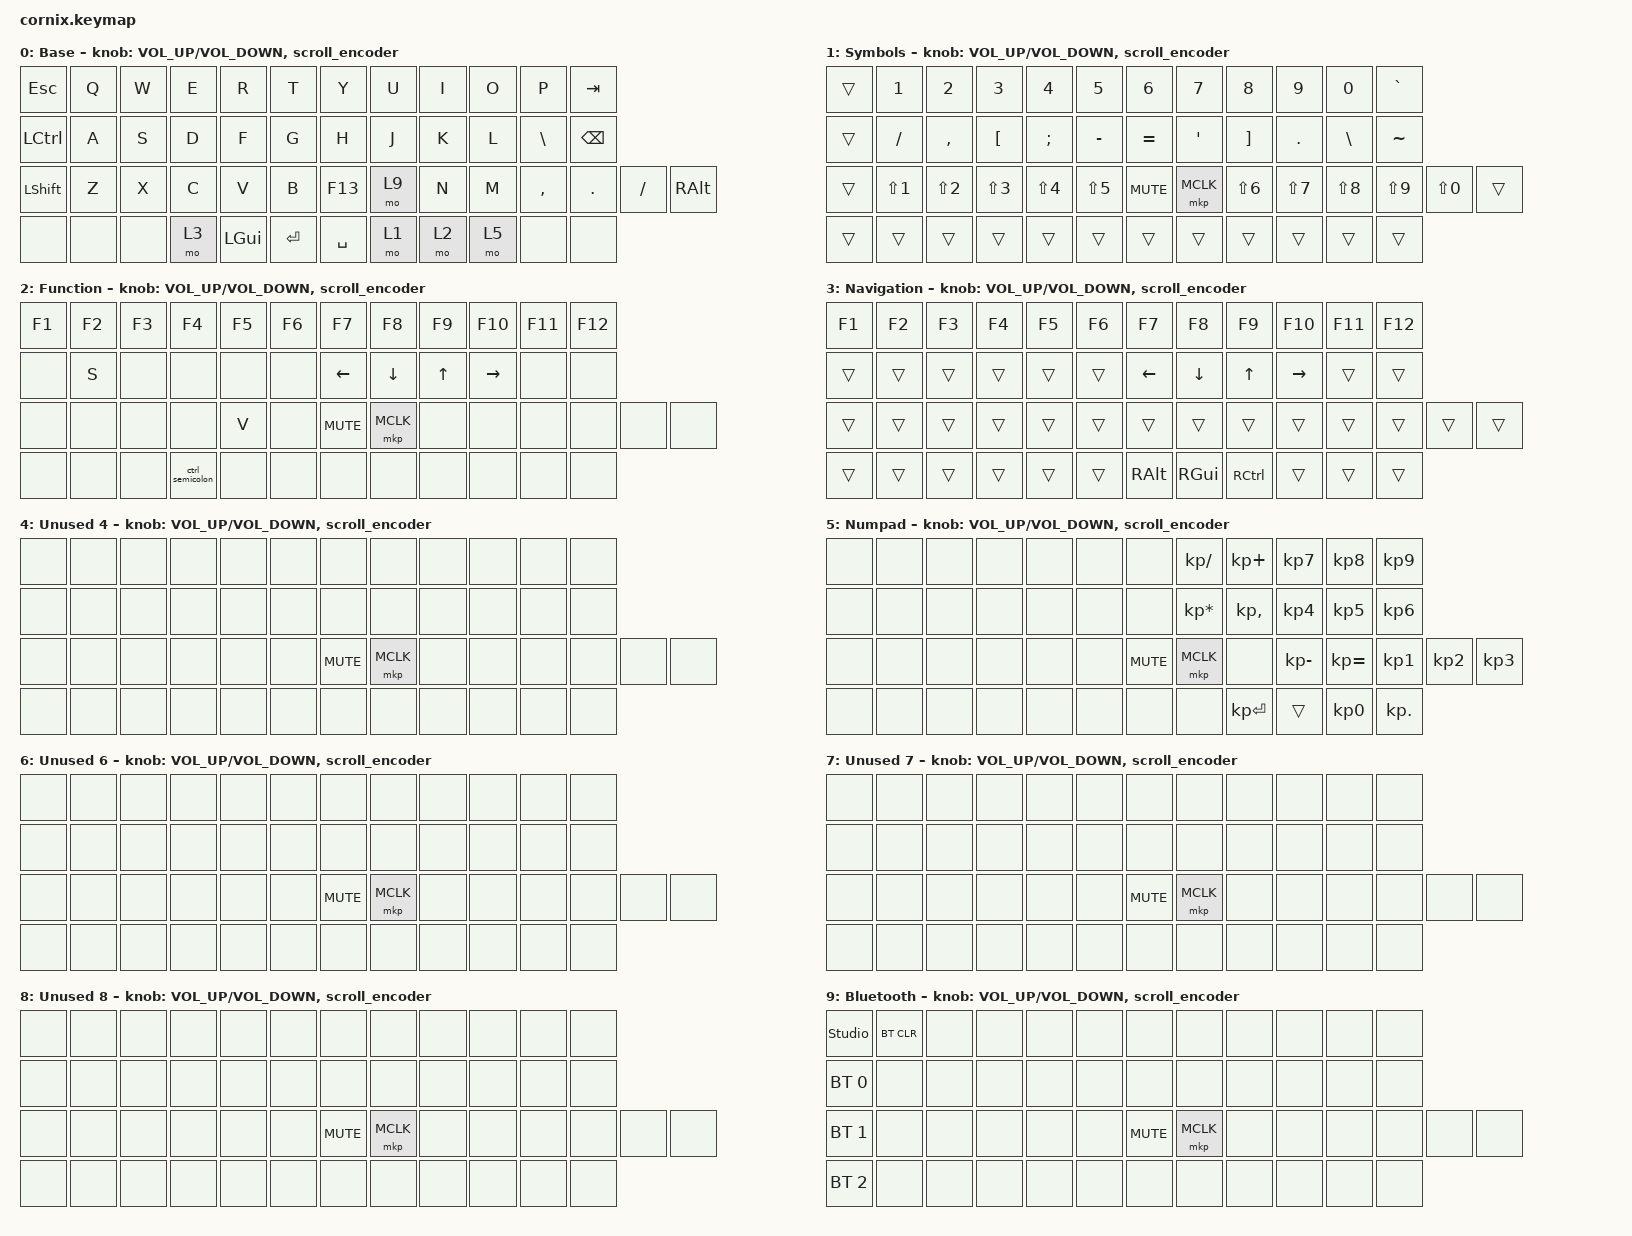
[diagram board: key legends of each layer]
/*
 * Copyright (c) 2024 The ZMK Contributors
 *
 * SPDX-License-Identifier: MIT
 */

#include <behaviors.dtsi>
#include <dt-bindings/zmk/bt.h>
#include <dt-bindings/zmk/keys.h>
#include <dt-bindings/zmk/pointing.h>

// ノブの短いタップでもスクロールが発生するよう、加速を無効にする。
&msc {
    time-to-max-speed-ms = <0>;
};

/ {
    behaviors {
        scroll_encoder: scroll_encoder {
            compatible = "zmk,behavior-sensor-rotate";
            #sensor-binding-cells = <0>;
            // 16msの更新周期を超え、1回転イベントで約1段スクロールする。
            tap-ms = <20>;
            bindings = <&msc MOVE_Y(-100)>, <&msc MOVE_Y(100)>;
        };
    };

    macros {
        ctrl_semicolon: ctrl_semicolon {
            compatible = "zmk,behavior-macro";
            #binding-cells = <0>;
            bindings = <&kp LC(SEMI)>;
        };
    };

    keymap {
        compatible = "zmk,keymap";

        layer_0 {
            display-name = "Base";

            bindings = <
                &kp ESC              &kp Q                &kp W                &kp E                &kp R                &kp T                   &kp Y                &kp U                &kp I                &kp O                &kp P                &kp TAB
                &kp LCTRL            &kp A                &kp S                &kp D                &kp F                &kp G                   &kp H                &kp J                &kp K                &kp L                &kp BSLH             &kp BSPC
                &kp LSHFT            &kp Z                &kp X                &kp C                &kp V                &kp B                &kp F13                 &mo 9                &kp N                &kp M                &kp COMMA            &kp DOT              &kp FSLH             &kp RALT
                &none                &none                &none                &mo 3                &kp LGUI             &kp RET                 &kp SPACE            &mo 1                &mo 2                &mo 5                &none                &none
            >;

            sensor-bindings = <&inc_dec_kp C_VOLUME_UP C_VOLUME_DOWN>, <&scroll_encoder>;
        };

        layer_1 {
            display-name = "Symbols";

            bindings = <
                &trans               &kp N1               &kp N2               &kp N3               &kp N4               &kp N5                  &kp N6               &kp N7               &kp N8               &kp N9               &kp N0               &kp GRAVE
                &trans               &kp FSLH             &kp COMMA            &kp LBKT             &kp SEMI             &kp MINUS               &kp EQUAL            &kp SQT              &kp RBKT             &kp DOT              &kp BSLH             &kp TILDE
                &trans               &kp LS(N1)           &kp LS(N2)           &kp LS(N3)           &kp LS(N4)           &kp LS(N5)           &kp C_MUTE              &mkp MCLK            &kp LS(N6)           &kp LS(N7)           &kp LS(N8)           &kp LS(N9)           &kp LS(N0)           &trans
                &trans               &trans               &trans               &trans               &trans               &trans                  &trans               &trans               &trans               &trans               &trans               &trans
            >;

            sensor-bindings = <&inc_dec_kp C_VOLUME_UP C_VOLUME_DOWN>, <&scroll_encoder>;
        };

        layer_2 {
            display-name = "Function";

            bindings = <
                &kp F1               &kp F2               &kp F3               &kp F4               &kp F5               &kp F6                  &kp F7               &kp F8               &kp F9               &kp F10              &kp F11              &kp F12
                &none                &kp S                &none                &none                &none                &none                   &kp LEFT             &kp DOWN             &kp UP               &kp RIGHT            &none                &none
                &none                &none                &none                &none                &kp V                &none                &kp C_MUTE              &mkp MCLK            &none                &none                &none                &none                &none                &none
                &none                &none                &none                &ctrl_semicolon      &none                &none                   &none                &none                &none                &none                &none                &none
            >;

            sensor-bindings = <&inc_dec_kp C_VOLUME_UP C_VOLUME_DOWN>, <&scroll_encoder>;
        };

        layer_3 {
            display-name = "Navigation";

            bindings = <
                &kp F1               &kp F2               &kp F3               &kp F4               &kp F5               &kp F6                  &kp F7               &kp F8               &kp F9               &kp F10              &kp F11              &kp F12
                &trans               &trans               &trans               &trans               &trans               &trans                  &kp LEFT             &kp DOWN             &kp UP               &kp RIGHT            &trans               &trans
                &trans               &trans               &trans               &trans               &trans               &trans               &trans                  &trans               &trans               &trans               &trans               &trans               &trans               &trans
                &trans               &trans               &trans               &trans               &trans               &trans                  &kp RALT             &kp RGUI             &kp RCTRL            &trans               &trans               &trans
            >;

            sensor-bindings = <&inc_dec_kp C_VOLUME_UP C_VOLUME_DOWN>, <&scroll_encoder>;
        };

        layer_4 {
            display-name = "Unused 4";

            bindings = <
                &none                &none                &none                &none                &none                &none                   &none                &none                &none                &none                &none                &none
                &none                &none                &none                &none                &none                &none                   &none                &none                &none                &none                &none                &none
                &none                &none                &none                &none                &none                &none                &kp C_MUTE              &mkp MCLK            &none                &none                &none                &none                &none                &none
                &none                &none                &none                &none                &none                &none                   &none                &none                &none                &none                &none                &none
            >;

            sensor-bindings = <&inc_dec_kp C_VOLUME_UP C_VOLUME_DOWN>, <&scroll_encoder>;
        };

        layer_5 {
            display-name = "Numpad";

            bindings = <
                &none                &none                &none                &none                &none                &none                   &none                &kp KP_SLASH         &kp KP_PLUS          &kp KP_N7            &kp KP_N8            &kp KP_N9
                &none                &none                &none                &none                &none                &none                   &none                &kp KP_ASTERISK      &kp KP_COMMA         &kp KP_N4            &kp KP_N5            &kp KP_N6
                &none                &none                &none                &none                &none                &none                &kp C_MUTE              &mkp MCLK            &none                &kp KP_MINUS         &kp KP_EQUAL         &kp KP_N1            &kp KP_N2            &kp KP_N3
                &none                &none                &none                &none                &none                &none                   &none                &none                &kp KP_ENTER         &trans               &kp KP_N0            &kp KP_DOT
            >;

            sensor-bindings = <&inc_dec_kp C_VOLUME_UP C_VOLUME_DOWN>, <&scroll_encoder>;
        };

        layer_6 {
            display-name = "Unused 6";

            bindings = <
                &none                &none                &none                &none                &none                &none                   &none                &none                &none                &none                &none                &none
                &none                &none                &none                &none                &none                &none                   &none                &none                &none                &none                &none                &none
                &none                &none                &none                &none                &none                &none                &kp C_MUTE              &mkp MCLK            &none                &none                &none                &none                &none                &none
                &none                &none                &none                &none                &none                &none                   &none                &none                &none                &none                &none                &none
            >;

            sensor-bindings = <&inc_dec_kp C_VOLUME_UP C_VOLUME_DOWN>, <&scroll_encoder>;
        };

        layer_7 {
            display-name = "Unused 7";

            bindings = <
                &none                &none                &none                &none                &none                &none                   &none                &none                &none                &none                &none                &none
                &none                &none                &none                &none                &none                &none                   &none                &none                &none                &none                &none                &none
                &none                &none                &none                &none                &none                &none                &kp C_MUTE              &mkp MCLK            &none                &none                &none                &none                &none                &none
                &none                &none                &none                &none                &none                &none                   &none                &none                &none                &none                &none                &none
            >;

            sensor-bindings = <&inc_dec_kp C_VOLUME_UP C_VOLUME_DOWN>, <&scroll_encoder>;
        };

        layer_8 {
            display-name = "Unused 8";

            bindings = <
                &none                &none                &none                &none                &none                &none                   &none                &none                &none                &none                &none                &none
                &none                &none                &none                &none                &none                &none                   &none                &none                &none                &none                &none                &none
                &none                &none                &none                &none                &none                &none                &kp C_MUTE              &mkp MCLK            &none                &none                &none                &none                &none                &none
                &none                &none                &none                &none                &none                &none                   &none                &none                &none                &none                &none                &none
            >;

            sensor-bindings = <&inc_dec_kp C_VOLUME_UP C_VOLUME_DOWN>, <&scroll_encoder>;
        };

        layer_9 {
            display-name = "Bluetooth";

            // 右ノブを押しながら左上のEscでStudioのロックを解除する。
            // その右隣（Q）で、選択中のBluetoothプロファイルの登録を消す。
            bindings = <
                &studio_unlock       &bt BT_CLR           &none                &none                &none                &none                   &none                &none                &none                &none                &none                &none
                &bt BT_SEL 0         &none                &none                &none                &none                &none                   &none                &none                &none                &none                &none                &none
                &bt BT_SEL 1         &none                &none                &none                &none                &none                &kp C_MUTE              &mkp MCLK            &none                &none                &none                &none                &none                &none
                &bt BT_SEL 2         &none                &none                &none                &none                &none                   &none                &none                &none                &none                &none                &none
            >;

            sensor-bindings = <&inc_dec_kp C_VOLUME_UP C_VOLUME_DOWN>, <&scroll_encoder>;
        };
    };
};
